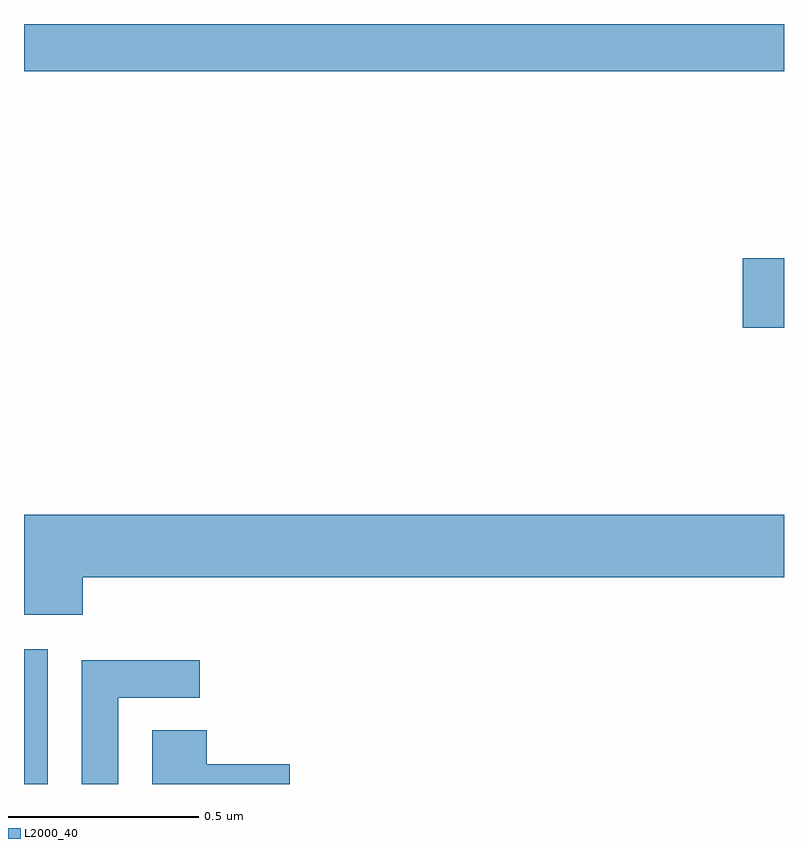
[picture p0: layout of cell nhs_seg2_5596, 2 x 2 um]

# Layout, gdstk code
import gdstk
lib = gdstk.Library(unit=1e-6, precision=1e-09)
def R(c, l, rs):  # rectangles x0, y0, x1, y1
    for r in rs: c.add(gdstk.rectangle(r[:2], r[2:], *l))
def P(c, l, *ps):  # polygons
    for p in ps: c.add(gdstk.Polygon(p, *l))
L2000_40 = (2000, 40)

nhs_seg2_5596 = lib.new_cell('nhs_seg2_5596')
R(nhs_seg2_5596, L2000_40, [(181,605.8,181.063,606.154), (182.892,607.001,183,607.184), (181,607.676,183,607.8)])
P(nhs_seg2_5596, L2000_40, [(181.154,606.344),(183,606.344),(183,606.508),(181,606.508),(181,606.245),(181.154,606.245)],
  [(181.248,606.027),(181.462,606.027),(181.462,606.126),(181.152,606.126),(181.152,605.8),(181.248,605.8)],
  [(181.699,605.852),(181.481,605.852),(181.481,605.942),(181.337,605.942),(181.337,605.8),(181.699,605.8)])

lib.write_gds('nhs_seg2_5596.gds')
